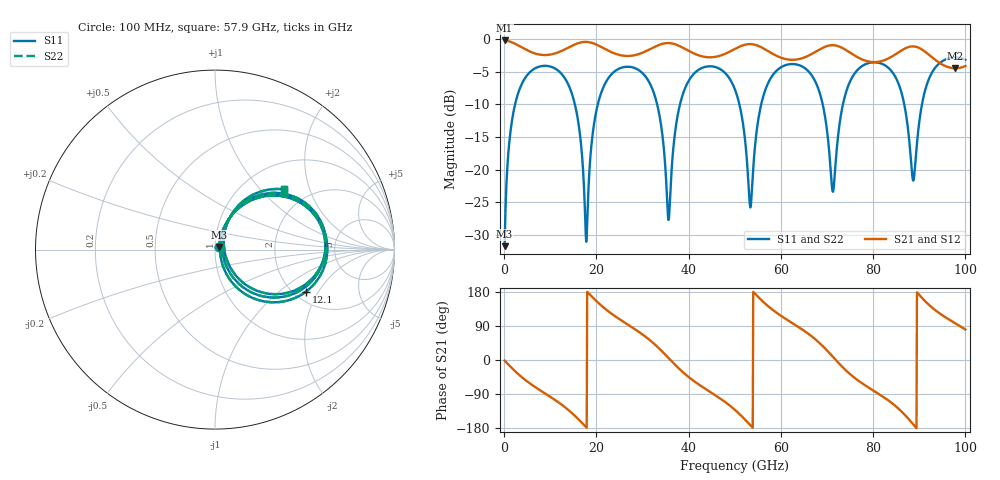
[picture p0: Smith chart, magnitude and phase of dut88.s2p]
! Touchstone file exported from HFSS 2026.1.0
!  File:  C:/ffzhzh/LocalFiles/Ansys_Project_Files/temp_train_TSV_RDL_88_1783630479_33328.aedt
!  Generated:  05:03:53 AM Jul 10, 2026
!  Design:  TSV_RDL
!  Project:  temp_train_TSV_RDL_88_1783630479_33328
! Variables:
!  h_bsmrdl = 3.11um
!  h_ox = 20um
!  h_rdl = 5um
!  h_sub = 64.45um
!  h_tmrdl = 3.46um
!  h_tsv = 64.45um
!  h_via = 3um
!  l_bsmrdl = 351.19um
!  l_sub = 3457.02um
!  l_tmrdl = 476.87um
!  m_sub = 200um
!  pitch = 51.24um
!  r_tsv = 7.36um
!  s_tmrdl = 10um
!  w_bsmrdl = 15.21um
!  w_sub = 500um
!  w_tmrdl = 16.78um
!  x_tsv_center1 = 485.26um
!  x_tsv_center2 = 851.66um
!  x_tsv_center3 = 1345.31um
!  x_tsv_center4 = 1711.71um
!  x_tsv_center5 = 2205.36um
!  x_tsv_center6 = 2571.76um
# GHz S MA R 50.000000
! Terminal data exported
! Port[1] = TM_RDL1_1_T1
! Port[2] = TM_RDL5_1_T1
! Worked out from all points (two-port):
!   1000 points, 100 MHz to 100 GHz, reference 50 ohm
!   highest |S21| = -0.18 dB at 100 MHz (marker M1); lowest = -4.5 dB at 97.8 GHz (marker M2)
!   |S21| within 3 dB of the highest: start of sweep to 77.91 GHz; 82.55 GHz to 93.51 GHz (10.97 GHz wide, 12.5 % of centre)
!   lowest |S11| = -31.8 dB at 100 MHz (marker M3), VSWR 1.05, Z = 52.1 + j1.55 ohm
!   |S11| at or under -10 dB: 15.34 GHz to 20.3 GHz (4.963 GHz wide, 27.9 % of centre); 33.17 GHz to 38.12 GHz (4.95 GHz wide, 13.9 % of centre); 51 GHz to 55.73 GHz (4.724 GHz wide, 8.85 % of centre) (the widest 3 of 6)
!   |S22| runs from -31.8 to -2.8 dB; largest |S21 - S12| = 5.4e-14
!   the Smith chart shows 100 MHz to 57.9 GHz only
!   S11 on the Smith chart (normalised r, x): 100 MHz: 1.04, +0.03; 12.1 GHz: 2.31, -1.57; 57.9 GHz: 1.50, +1.36
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0.1  0.02581 35.2  0.9792 -1.3  0.9792 -1.3  0.02581 35.2
! Gamma 0 0 0 0
! Port Impedance 50 0 50 0
1.3  0.1864 65.8  0.9583 -16.7  0.9583 -16.7  0.1864 65.8
3.3  0.4097 46.7  0.8872 -39.9  0.8872 -39.9  0.4097 46.7
12.1  0.5584 -24.8  0.8035 -114.6  0.8035 -114.6  0.5584 -24.8
16.8  0.1395 -65.1  0.9486 -164.9  0.9486 -164.9  0.1394 -65.0
17.9  0.03103 25.8  0.9543 -178.8  0.9543 -178.8  0.03123 25.7
19.8  0.261 61.0  0.9169 157.8  0.9169 157.8  0.2611 60.9
23.2  0.5352 30.3  0.7979 122.9  0.7979 122.9  0.5352 30.3
33.4  0.2914 -51.2  0.8991 32.8  0.8991 32.8  0.2914 -51.3
35.7  0.04129 14.1  0.9348 4.4  0.9348 4.4  0.04055 14.2
40.1  0.4857 40.2  0.8115 -45.9  0.8115 -45.9  0.4856 40.3
50.1  0.4059 -37.7  0.8451 -132.3  0.8451 -132.3  0.4059 -37.6
53.4  0.05117 9.8  0.9185 -172.3  0.9185 -172.3  0.05173 9.8
57.9  0.5098 41.1  0.7851 135.4  0.7851 135.4  0.5099 41.1
66.7  0.5276 -24.2  0.772 62.2  0.772 62.2  0.5275 -24.3
71.3  0.06748 10.9  0.9005 8.0  0.9005 8.0  0.06617 11.0
75.2  0.491 44.5  0.7812 -39.4  0.7812 -39.4  0.4909 44.7
83.4  0.5994 -14.9  0.7153 -107.6  0.7153 -107.6  0.5995 -14.7
88.7  0.0822 9.2  0.8815 -170.0  0.8815 -170.0  0.08479 9.4
91.9  0.4764 49.3  0.7705 147.7  0.7705 147.7  0.4767 49.1
97.8  0.7252 6.5  0.5987 96.9  0.5987 96.9  0.7252 6.5
100  0.695 -7.8  0.624 80.2  0.624 80.2  0.6951 -7.7
